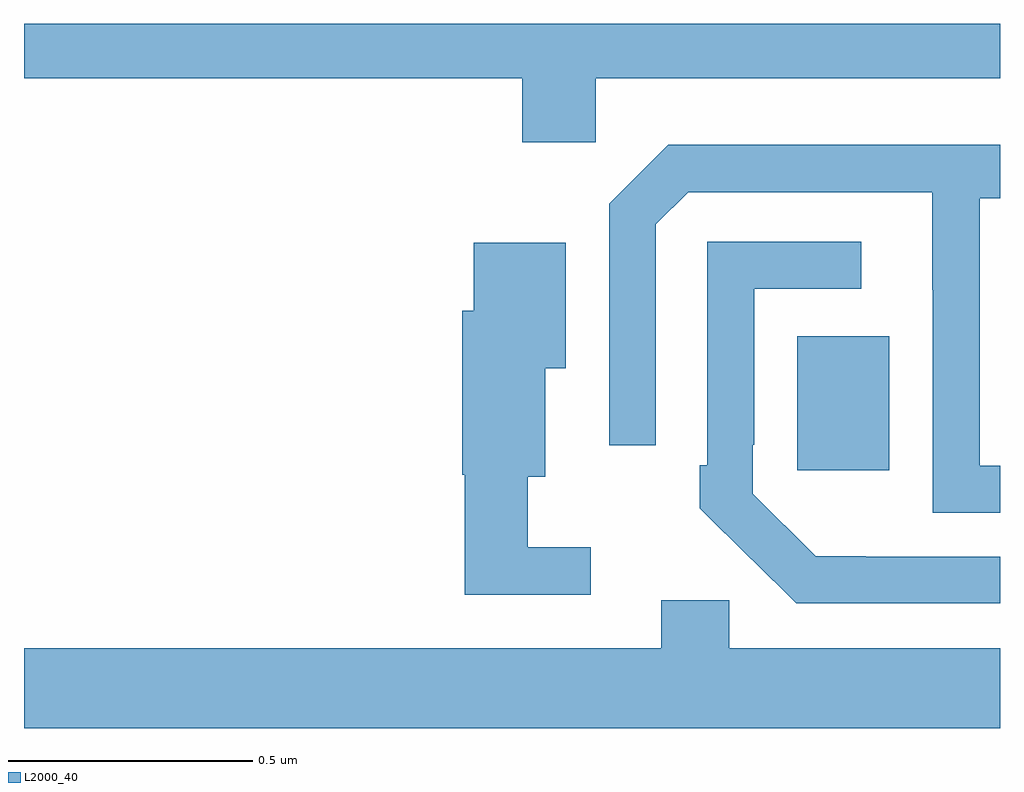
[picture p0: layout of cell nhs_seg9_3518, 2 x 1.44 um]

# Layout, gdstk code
import gdstk
lib = gdstk.Library(unit=1e-6, precision=1e-09)
def R(c, l, rs):  # rectangles x0, y0, x1, y1
    for r in rs: c.add(gdstk.rectangle(r[:2], r[2:], *l))
def P(c, l, *ps):  # polygons
    for p in ps: c.add(gdstk.Polygon(p, *l))
L2000_40 = (2000, 40)

nhs_seg9_3518 = lib.new_cell('nhs_seg9_3518')
R(nhs_seg9_3518, L2000_40, [(155.585,1227.585,155.773,1227.859)])
P(nhs_seg9_3518, L2000_40, [(155.172,1228.388),(156,1228.388),(156,1228.5),(154,1228.5),(154,1228.388),(155.021,1228.388),(155.021,1228.257),(155.172,1228.257)],
  [(156,1227.594),(155.958,1227.594),(155.958,1228.142),(156,1228.142),(156,1228.252),(155.32,1228.252),(155.199,1228.131),(155.199,1227.636),(155.295,1227.636),(155.295,1228.089),(155.361,1228.155),(155.861,1228.155),(155.861,1227.955),(155.862,1227.955),(155.862,1227.498),(156,1227.498)],
  [(156,1227.408),(155.725,1227.408),(155.725,1227.409),(155.622,1227.409),(155.493,1227.537),(155.493,1227.637),(155.496,1227.637),(155.496,1227.957),(155.716,1227.957),(155.716,1228.053),(155.4,1228.053),(155.4,1227.595),(155.385,1227.595),(155.385,1227.507),(155.49,1227.402),(155.491,1227.403),(155.582,1227.312),(156,1227.312)],
  [(155.161,1227.427),(155.032,1227.427),(155.032,1227.572),(155.068,1227.572),(155.068,1227.794),(155.11,1227.794),(155.11,1228.051),(154.922,1228.051),(154.922,1227.912),(154.898,1227.912),(154.898,1227.576),(154.903,1227.576),(154.903,1227.33),(155.161,1227.33)],
  [(156,1227.22),(155.445,1227.22),(155.445,1227.318),(155.306,1227.318),(155.306,1227.22),(154,1227.22),(154,1227.056),(156,1227.056)])

lib.write_gds('nhs_seg9_3518.gds')
